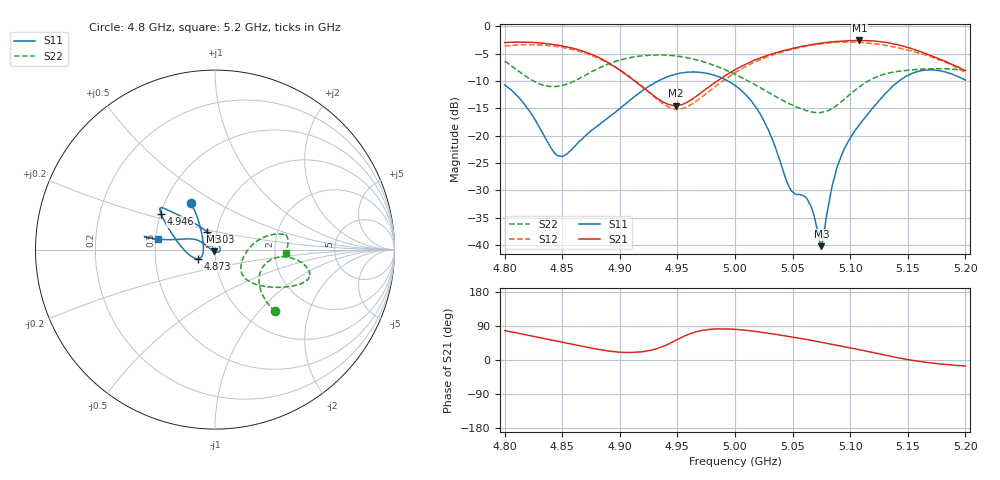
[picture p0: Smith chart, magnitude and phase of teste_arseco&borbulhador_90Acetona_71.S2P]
! Network Analyzer HP8722D
! Hewlett-Packard
! Data name: Linha & Wilkinson
! Saver's name: Rodrigo Anjos
! Comments: Teste da utilização de aquisição
! continua pelo VNA HP8722D
! Time and date: 17/4/2025 11:38
!  Frequency  S11  S21  S12  S22
# HZ  S  MA R 50
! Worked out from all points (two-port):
!   401 points, 4.8 GHz to 5.2 GHz, reference 50 ohm
!   highest |S21| = -2.58 dB at 5.108 GHz (marker M1); lowest = -14.5 dB at 4.949 GHz (marker M2)
!   |S21| within 3 dB of the highest: start of sweep to 4.881 GHz; 5.025 GHz to 5.173 GHz (148.1 MHz wide, 2.91 % of centre)
!   lowest |S11| = -40.2 dB at 5.075 GHz (marker M3), VSWR 1.02, Z = 49.5 - j0.86 ohm
!   |S11| at or under -10 dB: start of sweep to 4.933 GHz; 4.994 GHz to 5.142 GHz (148.5 MHz wide, 2.93 % of centre)
!   |S22| runs from -15.8 to -5.2 dB; largest |S21 - S12| = 1
!   S11 on the Smith chart (normalised r, x): 4.8 GHz: 0.68, +0.38; 4.873 GHz: 0.83, -0.08; 4.946 GHz: 0.50, +0.23; 5.03 GHz: 0.90, +0.18; 5.2 GHz: 0.52, +0.07
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4.8e9  0.2908 117.1  0.7089 77.4  0.6622 -16.0  0.4802 -45.7
4.818e9  0.1896 119.7  0.717 66.6  0.6791 -23.8  0.3519 -42.5
4.845e9  0.06719 164.0  0.6754 50.2  0.654 -36.8  0.2826 -21.5
4.867e9  0.09262 -150.5  0.598 36.4  0.5803 -48.0  0.3435 -7.5
4.873e9  0.1063 -151.6  0.5683 33.0  0.5516 -51.1  0.371 -6.4
4.901e9  0.1806 177.4  0.3914 20.5  0.3924 -62.6  0.4946 -9.0
4.934e9  0.3201 151.1  0.2145 31.8  0.2097 -55.8  0.5471 -15.8
4.946e9  0.3593 146.6  0.1888 47.9  0.1771 -39.6  0.5394 -18.3
4.949e9  0.3663 145.8  0.1883 52.8  0.1752 -34.6  0.5356 -19.1
4.975e9  0.3725 141.4  0.2683 79.7  0.243 -2.3  0.4655 -26.2
5e9  0.2884 137.1  0.4004 80.9  0.3772 3.4  0.365 -34.6
5.016e9  0.1956 129.3  0.4865 75.8  0.4648 0.4  0.2986 -40.5
5.03e9  0.1063 113.9  0.5508 70.1  0.5339 -3.9  0.2452 -43.5
5.047e9  0.03391 52.4  0.618 61.8  0.6057 -10.5  0.1961 -41.0
5.061e9  0.02747 -20.7  0.6644 54.7  0.6569 -17.0  0.1712 -32.2
5.067e9  0.02107 -42.1  0.6817 51.5  0.6747 -20.1  0.1643 -26.3
5.075e9  0.009781 -117.5  0.7031 46.8  0.6935 -24.7  0.1631 -16.0
5.09e9  0.05642 155.0  0.7292 38.1  0.7152 -33.9  0.1946 3.6
5.108e9  0.1261 152.9  0.7429 27.1  0.7126 -45.6  0.2801 14.2
5.134e9  0.2648 167.8  0.7037 10.7  0.6593 -61.3  0.3754 13.3
5.163e9  0.3955 169.8  0.5755 -5.1  0.5553 -74.4  0.4061 11.2
5.2e9  0.3226 169.4  0.3927 -15.9  0.3791 -84.3  0.3955 -2.5
